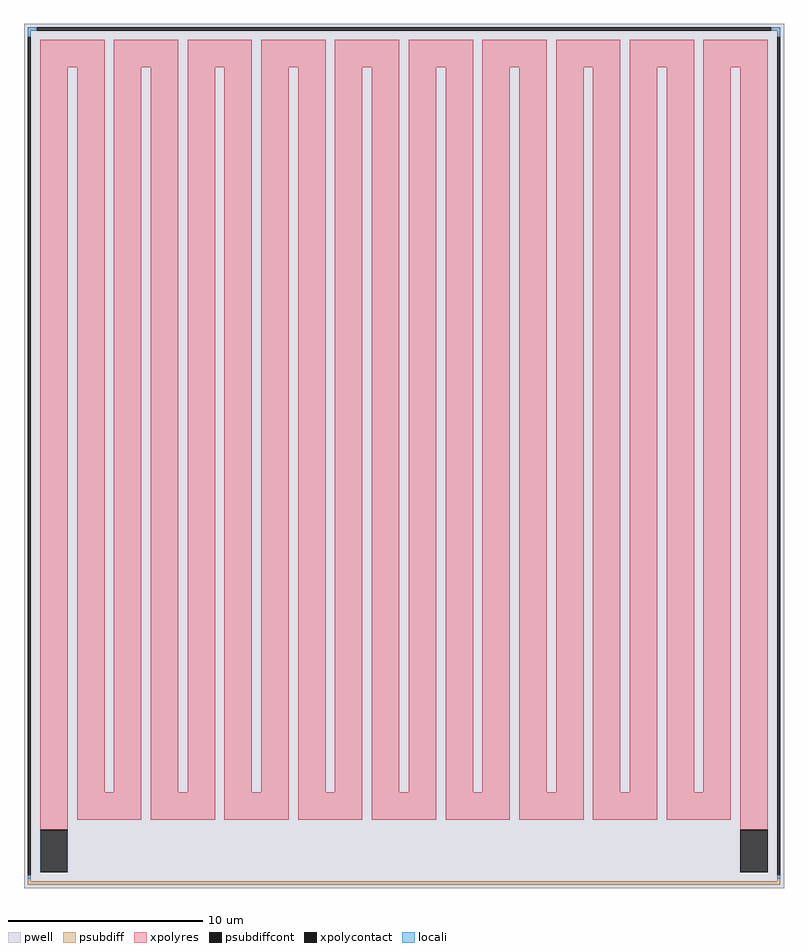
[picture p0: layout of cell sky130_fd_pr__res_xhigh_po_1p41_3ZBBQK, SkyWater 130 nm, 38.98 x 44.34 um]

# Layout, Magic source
magic
tech sky130A
magscale 1 2
<< pwell >>
rect -3898 -4434 3898 4434
<< psubdiff >>
rect -3862 4364 -3766 4398
rect 3766 4364 3862 4398
rect -3862 4302 -3828 4364
rect 3828 4302 3862 4364
rect -3862 -4364 -3828 -4302
rect 3828 -4364 3862 -4302
rect -3862 -4398 3862 -4364
<< psubdiffcont >>
rect -3766 4364 3766 4398
rect -3862 -4302 -3828 4302
rect 3828 -4302 3862 4302
<< xpolycontact >>
rect -3732 -4268 -3450 -3836
rect 3450 -4268 3732 -3836
<< xpolyres >>
rect -3732 3986 -3072 4268
rect -3732 -3836 -3450 3986
rect -3354 -3450 -3072 3986
rect -2976 3986 -2316 4268
rect -2976 -3450 -2694 3986
rect -3354 -3732 -2694 -3450
rect -2598 -3450 -2316 3986
rect -2220 3986 -1560 4268
rect -2220 -3450 -1938 3986
rect -2598 -3732 -1938 -3450
rect -1842 -3450 -1560 3986
rect -1464 3986 -804 4268
rect -1464 -3450 -1182 3986
rect -1842 -3732 -1182 -3450
rect -1086 -3450 -804 3986
rect -708 3986 -48 4268
rect -708 -3450 -426 3986
rect -1086 -3732 -426 -3450
rect -330 -3450 -48 3986
rect 48 3986 708 4268
rect 48 -3450 330 3986
rect -330 -3732 330 -3450
rect 426 -3450 708 3986
rect 804 3986 1464 4268
rect 804 -3450 1086 3986
rect 426 -3732 1086 -3450
rect 1182 -3450 1464 3986
rect 1560 3986 2220 4268
rect 1560 -3450 1842 3986
rect 1182 -3732 1842 -3450
rect 1938 -3450 2220 3986
rect 2316 3986 2976 4268
rect 2316 -3450 2598 3986
rect 1938 -3732 2598 -3450
rect 2694 -3450 2976 3986
rect 3072 3986 3732 4268
rect 3072 -3450 3354 3986
rect 2694 -3732 3354 -3450
rect 3450 -3836 3732 3986
<< locali >>
rect -3862 4364 -3766 4398
rect 3766 4364 3862 4398
rect -3862 4302 -3828 4364
rect 3828 4302 3862 4364
rect -3733 -4268 -3732 -3841
rect -3450 -4268 -3447 -3841
rect -3862 -4335 -3828 -4302
rect 3828 -4335 3862 -4302
<< properties >>
string FIXED_BBOX -3845 -4381 3845 4381
string gencell sky130_fd_pr__res_xhigh_po_1p41
string library sky130
string parameters w 1.41 l 40.0 m 1 nx 20 wmin 1.410 lmin 0.50 rho 2000 val 1.173meg dummy 0 dw 0.0 term 188.2 sterm 0.0 caplen 0 wmax 1.410 guard 1 glc 1 grc 1 gtc 1 gbc 0 compatible {sky130_fd_pr__res_xhigh_po_0p35  sky130_fd_pr__res_xhigh_po_0p69 sky130_fd_pr__res_xhigh_po_1p41  sky130_fd_pr__res_xhigh_po_2p85 sky130_fd_pr__res_xhigh_po_5p73} snake 1 full_metal 1 n_guard 0 hv_guard 0 vias 1 viagb 0 viagt 0 viagl 0 viagr 0
<< end >>
